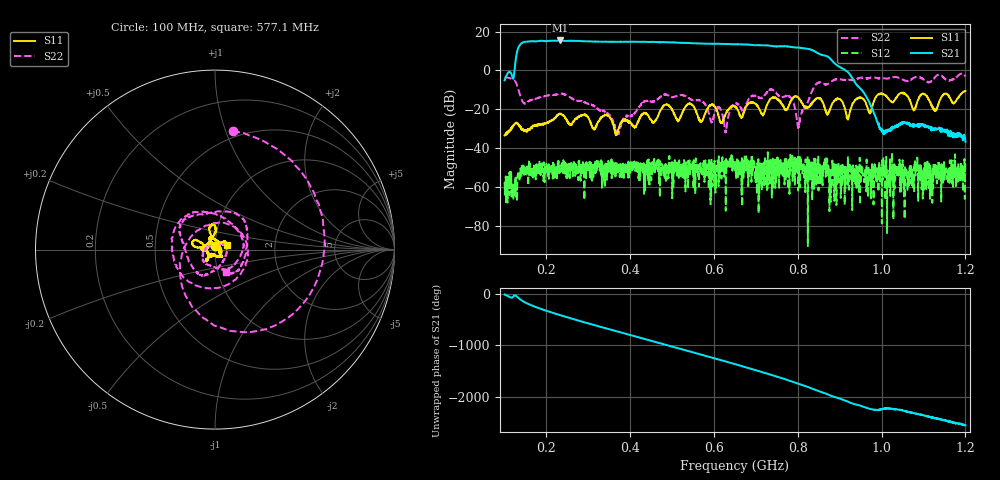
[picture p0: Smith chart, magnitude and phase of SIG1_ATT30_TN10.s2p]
# Hz S DB R 50
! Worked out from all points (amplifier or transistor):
!   1601 points, 100 MHz to 1.2 GHz, reference 50 ohm
!   highest |S21| = 15.4 dB at 232 MHz (marker M1)
!   |S21| within 3 dB of that: 134.3 MHz to 741.3 MHz (607 MHz wide, 139 % of centre) (the widest 1 of 8)
!   unconditionally stable (mu >= 1): start of sweep to end of sweep
!   at 282.9 MHz: K = 33.02, MAG = 15.2 dB, |S12| = -51.8 dB
!   at 650 MHz: K = 35.99, MAG = 13.6 dB, |S12| = -50.9 dB
!   at 1.2 GHz: K = 7218.62, MAG = -33.2 dB, |S12| = -53.4 dB
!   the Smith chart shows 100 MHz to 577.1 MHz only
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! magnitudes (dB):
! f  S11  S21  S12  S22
! 100 MHz  -33.4  -5.1  -57.5  -3.5
! 141.9 MHz  -30.4  14.1  -50.7  -15.6
! 232 MHz  -22.2  15.4  -52.9  -11.9
! 283.6 MHz  -23.3  15.0  -48.9  -15.9
! 369.5 MHz  -31.6  14.8  -50.3  -32.4
! 467.1 MHz  -22.9  14.6  -45.9  -14.3
! 542.8 MHz  -17.4  14.1  -53.7  -14.7
! 568.2 MHz  -26.3  13.9  -49.8  -15.6
! 592.9 MHz  -17.6  13.7  -65.7  -26.3
! 627.3 MHz  -22.7  13.6  -52.8  -31.6
! 650 MHz  -18.7  13.4  -50.9  -17.1
! 716 MHz  -22.9  12.9  -50.8  -13.9
! 738 MHz  -14.2  12.5  -65.4  -9.6
! 782.7 MHz  -16.2  12.1  -50.7  -13.8
! 801.9 MHz  -14.1  11.7  -54.5  -29.3
! 833.6 MHz  -17.1  10.5  -47.3  -10.7
! 898.2 MHz  -14.6  2.0  -49.1  -4.5
! 920.9 MHz  -24.2  -1.2  -60.5  -4.8
! 943.6 MHz  -14.1  -8.2  -49.6  -4.2
! 1.017 GHz  -14.9  -30.7  -53.7  -4.1
! 1.127 GHz  -20.9  -30.5  -48.7  -3.7
! 1.2 GHz  -10.5  -36.7  -53.4  -3.0
